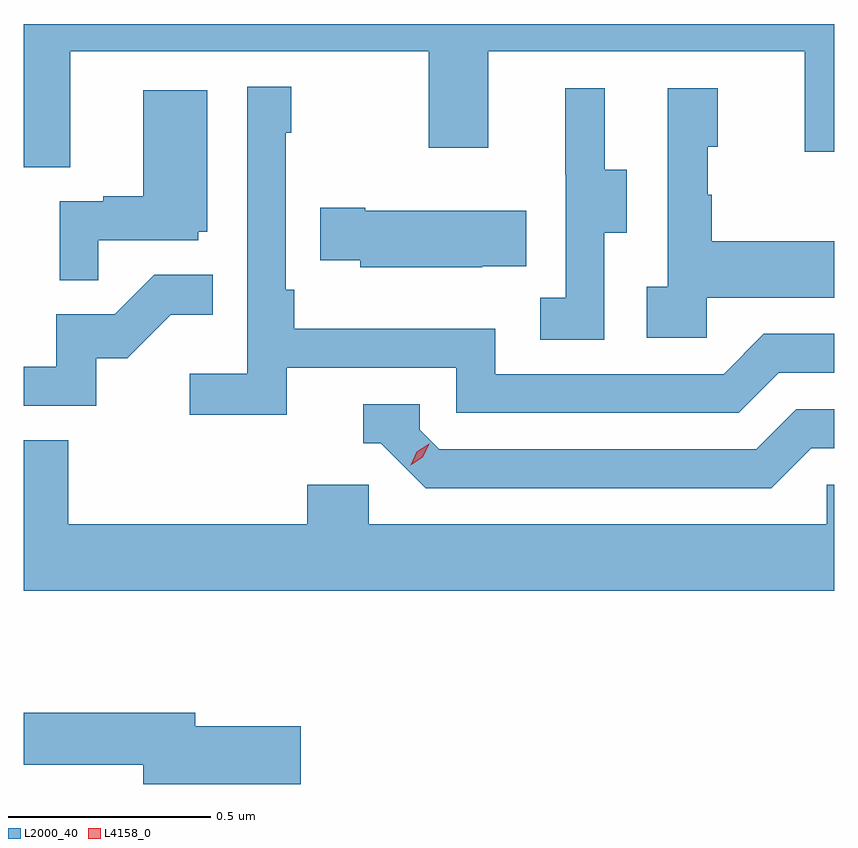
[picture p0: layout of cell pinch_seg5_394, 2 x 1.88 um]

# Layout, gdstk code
import gdstk
lib = gdstk.Library(unit=1e-6, precision=1e-09)
def P(c, l, *ps):  # polygons
    for p in ps: c.add(gdstk.Polygon(p, *l))
L2000_40 = (2000, 40)
L4158_0 = (4158, 0)

pinch_seg5_394 = lib.new_cell('pinch_seg5_394')
P(pinch_seg5_394, L2000_40, [(974.575,867.416),(975.46,867.416),(975.46,867.177),(975.607,867.177),(975.607,867.416),(976.388,867.416),(976.388,867.168),(976.461,867.168),(976.461,867.483),(974.461,867.483),(974.461,867.13),(974.575,867.13)],
  [(975.11,866.634),(975.528,866.634),(975.528,866.523),(976.225,866.523),(976.324,866.622),(976.461,866.622),(976.461,866.718),(976.287,866.718),(976.188,866.619),(975.624,866.619),(975.624,866.731),(975.128,866.731),(975.128,866.827),(975.108,866.827),(975.108,867.215),(975.121,867.215),(975.121,867.328),(975.012,867.328),(975.012,866.62),(974.871,866.62),(974.871,866.518),(975.11,866.518)],
  [(976.146,866.807),(976.461,866.807),(976.461,866.947),(976.159,866.947),(976.159,867.062),(976.149,867.062),(976.149,867.18),(976.174,867.18),(976.174,867.325),(976.05,867.325),(976.05,866.834),(975.999,866.834),(975.999,866.709),(976.146,866.709)],
  [(975.894,866.968),(975.949,866.968),(975.949,867.123),(975.895,867.123),(975.895,867.325),(975.797,867.325),(975.797,867.111),(975.798,867.111),(975.798,866.807),(975.735,866.807),(975.735,866.704),(975.894,866.704)],
  [(974.645,866.949),(974.892,866.949),(974.892,866.97),(974.914,866.97),(974.914,867.319),(974.756,867.319),(974.756,867.058),(974.657,867.058),(974.657,867.045),(974.55,867.045),(974.55,866.851),(974.645,866.851)],
  [(975.593,866.885),(975.701,866.885),(975.701,867.022),(975.304,867.022),(975.304,867.03),(975.193,867.03),(975.193,866.9),(975.291,866.9),(975.291,866.882),(975.593,866.882)],
  [(974.64,866.658),(974.716,866.658),(974.823,866.765),(974.927,866.765),(974.927,866.864),(974.783,866.864),(974.685,866.766),(974.541,866.766),(974.541,866.637),(974.461,866.637),(974.461,866.541),(974.64,866.541)],
  [(976.405,866.436),(976.461,866.436),(976.461,866.532),(976.368,866.532),(976.269,866.433),(975.486,866.433),(975.438,866.481),(975.438,866.544),(975.299,866.544),(975.299,866.448),(975.342,866.448),(975.453,866.337),(976.306,866.337)],
  [(976.461,866.346),(976.443,866.346),(976.443,866.248),(975.312,866.248),(975.312,866.346),(975.161,866.346),(975.161,866.248),(974.57,866.248),(974.57,866.456),(974.461,866.456),(974.461,866.084),(976.461,866.084)],
  [(975.145,865.749),(974.884,865.749),(974.884,865.783),(974.461,865.783),(974.461,865.654),(974.756,865.654),(974.756,865.607),(975.145,865.607)])
P(pinch_seg5_394, L4158_0, [(975.416,866.394),(975.416,866.394),(975.431,866.427),(975.461,866.447),(975.462,866.447),(975.462,866.447),(975.446,866.414),(975.416,866.394)])

lib.write_gds('pinch_seg5_394.gds')
